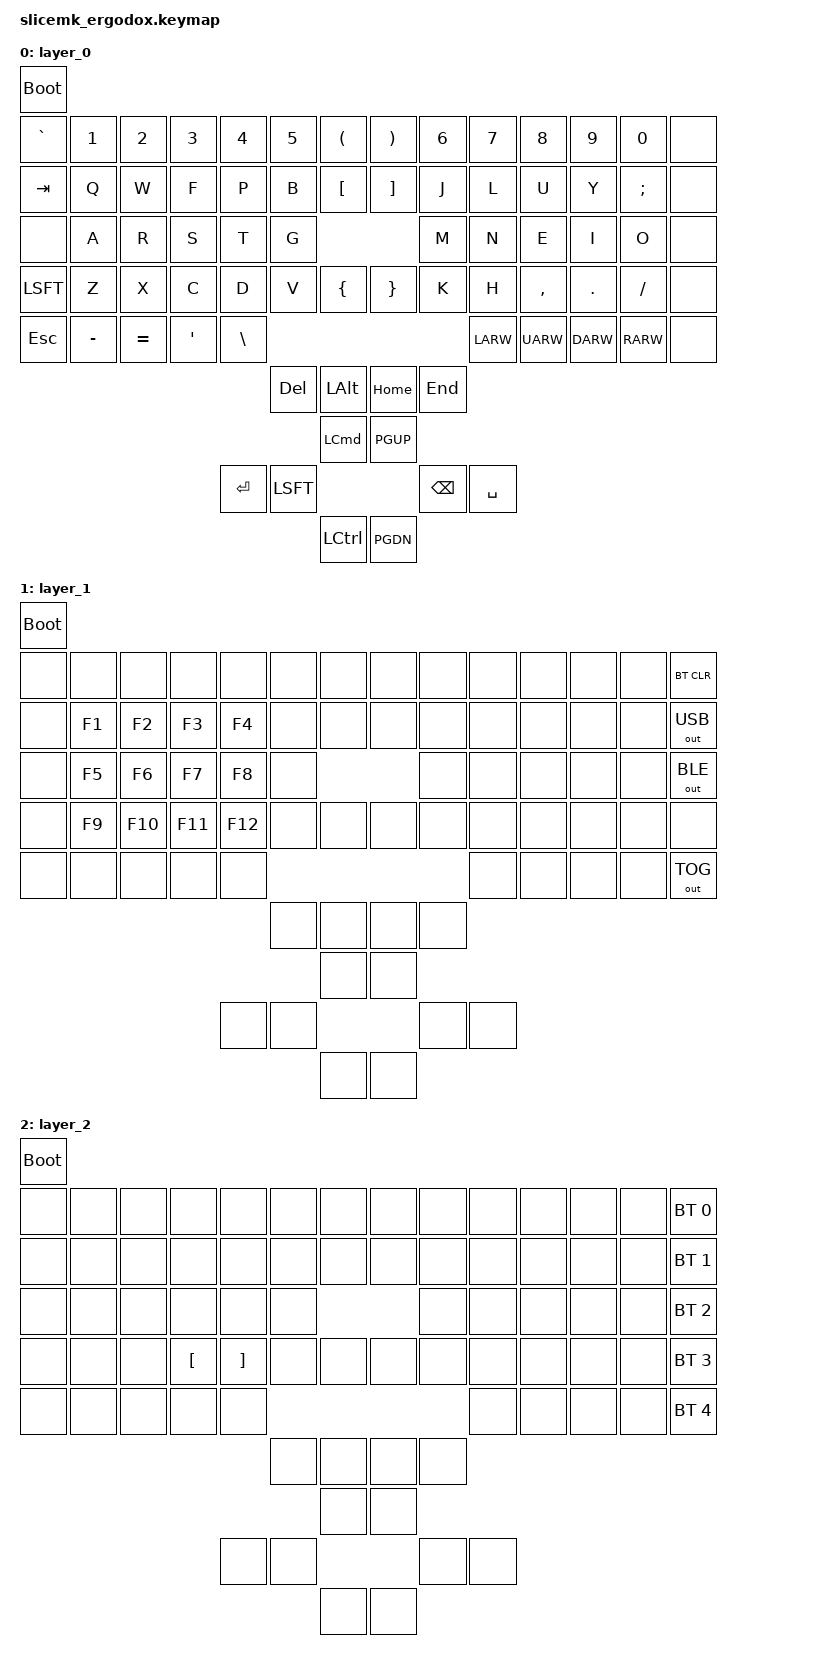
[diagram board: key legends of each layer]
#include <behaviors.dtsi>
#include <dt-bindings/zmk/bt.h>
#include <dt-bindings/zmk/keys.h>
#include <dt-bindings/zmk/outputs.h>

/ {
        keymap {
                compatible = "zmk,keymap";

                layer_0 {
                        bindings = <
    &bootloader
    &kp GRAV   &kp NUM_1  &kp NUM_2  &kp NUM_3  &kp NUM_4  &kp NUM_5  &kp LPAR   &kp RPAR   &kp NUM_6  &kp NUM_7  &kp NUM_8  &kp NUM_9  &kp NUM_0  &none
    &kp TAB    &kp Q      &kp W      &kp F      &kp P      &kp B      &kp LBKT   &kp RBKT   &kp J      &kp L      &kp U      &kp Y      &kp SCLN   &none
    &none      &kp A      &kp R      &kp S      &kp T      &kp G                            &kp M      &kp N      &kp E      &kp I      &kp O      &none
    &kp LSFT   &kp Z      &kp X      &kp C      &kp D      &kp V      &kp LBRC   &kp RBRC   &kp K      &kp H      &kp CMMA   &kp DOT    &kp FSLH   &none
    &kp ESC    &kp MINUS  &kp EQUAL  &kp APOS   &kp BSLH                                              &kp LARW   &kp UARW   &kp DARW   &kp RARW   &none
                                                           &kp DEL    &kp LALT   &kp HOME    &kp END
                                                                      &kp LCMD   &kp PGUP
                                                &kp RET    &kp LSFT                         &kp BKSP   &kp SPC
                                                                      &kp LCTL   &kp PGDN
                        >;
                };

                layer_1 {
                        bindings = <
    &bootloader
    &none      &none      &none      &none      &none      &none      &none      &none      &none      &none      &none      &none      &none      &bt BT_CLR
    &none      &kp F1     &kp F2     &kp F3     &kp F4     &none      &none      &none      &none      &none      &none      &none      &none      &out OUT_USB
    &none      &kp F5     &kp F6     &kp F7     &kp F8     &none                            &none      &none      &none      &none      &none      &out OUT_BLE
    &none      &kp F9     &kp F10    &kp F11    &kp F12    &none      &none      &none      &none      &none      &none      &none      &none      &none
    &none      &none      &none      &none      &none                                                  &none      &none      &none      &none      &out OUT_TOG
                                                           &none      &none      &none      &none
                                                                      &none      &none
                                                &none      &none                            &none      &none
                                                                      &none      &none
                        >;
                };

                layer_2 {
                        bindings = <
    &bootloader
    &none      &none      &none      &none      &none      &none      &none      &none      &none      &none      &none      &none      &none      &bt BT_SEL 0
    &none      &none      &none      &none      &none      &none      &none      &none      &none      &none      &none      &none      &none      &bt BT_SEL 1
    &none      &none      &none      &none      &none      &none                            &none      &none      &none      &none      &none      &bt BT_SEL 2
    &none      &none      &none      &kp LBKT   &kp RBKT   &none      &none      &none      &none      &none      &none      &none      &none      &bt BT_SEL 3
    &none      &none      &none      &none      &none                                                  &none      &none      &none      &none      &bt BT_SEL 4
                                                           &none      &none      &none      &none
                                                                      &none      &none
                                                &none      &none                            &none      &none
                                                                      &none      &none
                        >;
                };

        };
};
